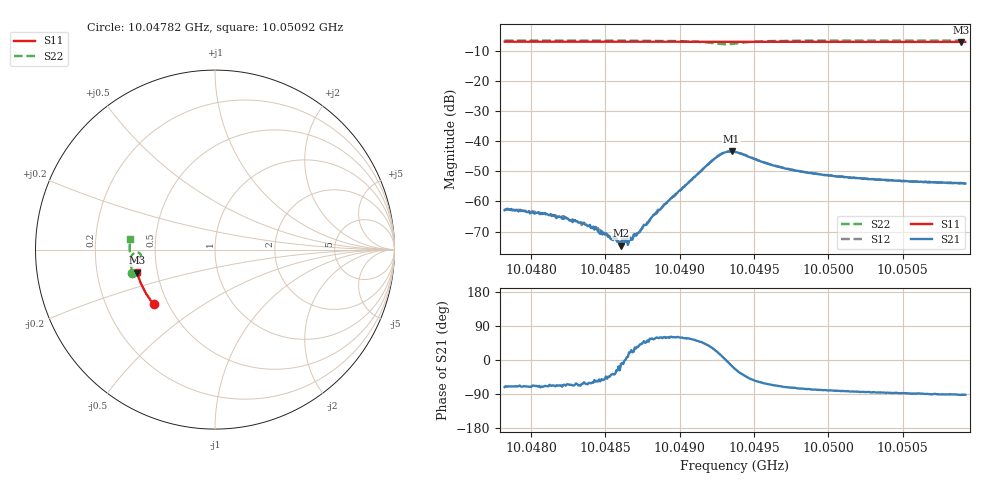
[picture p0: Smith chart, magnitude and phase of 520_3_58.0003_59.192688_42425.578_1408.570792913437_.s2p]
#  HZ  S  RI  R  50.00
! Rohde & Schwarz Vector Network Analyzer
! Rohde-Schwarz,ZNB20-2Port,1311601062101988,3.16
! Created: UTC 3/21/2024, 1:13:40 AM
! freq[Hz]  re:S11  im:S11  re:S21  im:S21  re:S12  im:S12  re:S22  im:S22
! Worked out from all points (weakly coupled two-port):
!   401 points, 10.04782 GHz to 10.05092 GHz, reference 50 ohm
!   highest |S21| = -43.35 dB at 10.04935 GHz (marker M1); lowest = -74.8 dB at 10.0486 GHz (marker M2)
!   lowest |S11| = -6.9 dB at 10.05089 GHz (marker M3), VSWR 2.65, Z = 19.2 - j6.22 ohm
!   |S11| at or under -10 dB: nowhere
!   |S22| runs from -7.7 to -6.4 dB; largest |S21 - S12| = 0.00048
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1.0047823e10  -0.3405 -0.3054  0.000228 -0.000677  0.000326 -0.000654  -0.4603 -0.13
1.0047947e10  -0.3458 -0.2991  0.000241 -0.00066  0.000241 -0.000658  -0.4622 -0.1216
1.004814e10  -0.3536 -0.2892  0.000215 -0.00053  0.000264 -0.000536  -0.465 -0.1083
1.0048342e10  -0.3618 -0.2785  0.000201 -0.00039  0.000208 -0.000347  -0.4675 -0.0938
1.0048427e10  -0.365 -0.2739  0.000205 -0.000271  0.000223 -0.000303  -0.4683 -0.0876
1.0048535e10  -0.3691 -0.2681  0.00018 -0.000155  0.000199 -0.000146  -0.4691 -0.0792
1.0048605e10  -0.3716 -0.2642  0.00018 -3.21e-05  0.000207 -3.27e-05  -0.4698 -0.0736
1.0048628e10  -0.3725 -0.263  0.00023 -7.71e-06  0.000236 -3.02e-05  -0.4697 -0.0717
1.0048636e10  -0.3726 -0.2626  0.000214 3.32e-06  0.000224 1.34e-05  -0.4697 -0.0711
1.0048644e10  -0.373 -0.2622  0.000242 3.04e-05  0.000225 4.27e-05  -0.4697 -0.0703
1.0048667e10  -0.3739 -0.2609  0.000236 8.46e-05  0.000227 9.46e-05  -0.4698 -0.0686
1.004886e10  -0.3807 -0.25  0.000387 0.000611  0.000363 0.000632  -0.469 -0.051
1.004924e10  -0.3927 -0.2283  0.0048 0.00225  0.00465 0.00259  -0.426 -0.0165
1.0049294e10  -0.3942 -0.2252  0.00641 0.00072  0.00635 0.0011  -0.4128 -0.0304
1.0049348e10  -0.3959 -0.2224  0.00657 -0.00177  0.00669 -0.00139  -0.4147 -0.0511
1.0049372e10  -0.3966 -0.2212  0.00611 -0.00267  0.00631 -0.00227  -0.4202 -0.0576
1.004965e10  -0.4053 -0.2051  0.00147 -0.00357  0.00168 -0.0035  -0.4672 -0.0417
1.004989e10  -0.4118 -0.1907  0.000599 -0.00286  0.000815 -0.00287  -0.4738 -0.0178
1.0050146e10  -0.4182 -0.1752  0.000296 -0.00248  0.000452 -0.00248  -0.4755 0.00293
1.0050409e10  -0.4243 -0.1591  0.000137 -0.00225  0.000231 -0.00226  -0.4755 0.0225
1.0050889e10  -0.4334 -0.1289  -8.19e-05 -0.00202  8.1e-05 -0.00202  -0.4726 0.0559
1.005092e10  -0.4341 -0.127  -6.66e-05 -0.00198  2.52e-05 -0.00199  -0.4724 0.0582
